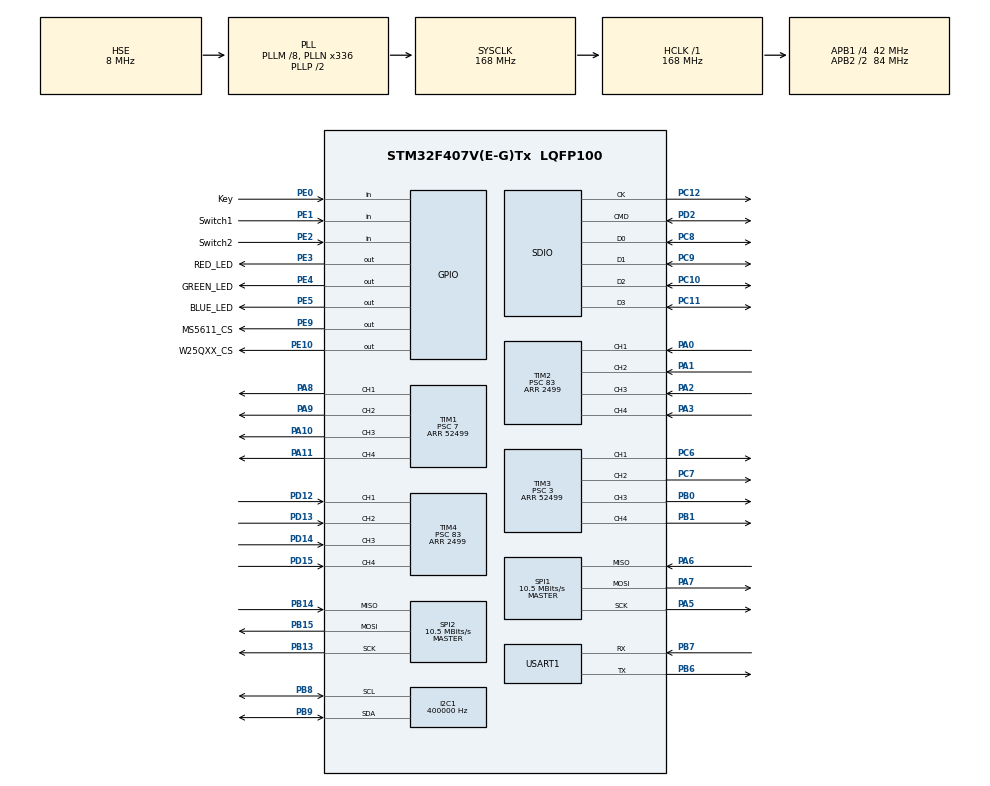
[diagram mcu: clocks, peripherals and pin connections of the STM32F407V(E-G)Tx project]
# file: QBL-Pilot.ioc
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Dma.Request0=SDIO_RX
Dma.Request1=SDIO_TX
Dma.SDIO_RX.0.Channel=DMA_CHANNEL_4
Dma.SDIO_RX.0.Direction=DMA_PERIPH_TO_MEMORY
Dma.SDIO_RX.0.FIFOMode=DMA_FIFOMODE_ENABLE
Dma.SDIO_RX.0.FIFOThreshold=DMA_FIFO_THRESHOLD_FULL
Dma.SDIO_RX.0.Instance=DMA2_Stream3
Dma.SDIO_RX.0.MemBurst=DMA_MBURST_INC4
Dma.SDIO_RX.0.MemDataAlignment=DMA_MDATAALIGN_WORD
Dma.SDIO_RX.0.MemInc=DMA_MINC_ENABLE
Dma.SDIO_RX.0.Mode=DMA_PFCTRL
Dma.SDIO_RX.0.PeriphBurst=DMA_PBURST_INC4
Dma.SDIO_RX.0.PeriphDataAlignment=DMA_PDATAALIGN_WORD
Dma.SDIO_RX.0.PeriphInc=DMA_PINC_DISABLE
Dma.SDIO_RX.0.Priority=DMA_PRIORITY_VERY_HIGH
Dma.SDIO_TX.1.Channel=DMA_CHANNEL_4
Dma.SDIO_TX.1.Direction=DMA_MEMORY_TO_PERIPH
Dma.SDIO_TX.1.FIFOMode=DMA_FIFOMODE_ENABLE
Dma.SDIO_TX.1.FIFOThreshold=DMA_FIFO_THRESHOLD_FULL
Dma.SDIO_TX.1.Instance=DMA2_Stream6
Dma.SDIO_TX.1.MemBurst=DMA_MBURST_INC4
Dma.SDIO_TX.1.MemDataAlignment=DMA_MDATAALIGN_WORD
Dma.SDIO_TX.1.MemInc=DMA_MINC_ENABLE
Dma.SDIO_TX.1.Mode=DMA_PFCTRL
Dma.SDIO_TX.1.PeriphBurst=DMA_PBURST_INC4
Dma.SDIO_TX.1.PeriphDataAlignment=DMA_PDATAALIGN_WORD
Dma.SDIO_TX.1.PeriphInc=DMA_PINC_DISABLE
Dma.SDIO_TX.1.Priority=DMA_PRIORITY_VERY_HIGH
I2C1.ClockSpeed=400000
I2C1.I2C_Mode=I2C_Fast
Mcu.Family=STM32F4
Mcu.Name=STM32F407V(E-G)Tx
Mcu.Package=LQFP100
NVIC.DMA2_Stream3_IRQn=true\:2\:0\:true
NVIC.DMA2_Stream6_IRQn=true\:2\:0\:true
NVIC.PriorityGroup=NVIC_PRIORITYGROUP_4
NVIC.TIM2_IRQn=true\:1\:0\:true
NVIC.TIM4_IRQn=true\:1\:0\:true
NVIC.TIM6_DAC_IRQn=true\:0\:0\:true
PA0-WKUP.Signal=S_TIM2_CH1_ETR
PA1.Signal=S_TIM2_CH2
PA10.Signal=S_TIM1_CH3
PA11.Signal=S_TIM1_CH4
PA13.Mode=Serial-Wire
PA13.Signal=SYS_JTMS-SWDIO
PA14.Mode=Serial-Wire
PA14.Signal=SYS_JTCK-SWCLK
PA2.Signal=S_TIM2_CH3
PA3.Signal=S_TIM2_CH4
PA5.Mode=Full_Duplex_Master
PA5.Signal=SPI1_SCK
PA6.Mode=Full_Duplex_Master
PA6.Signal=SPI1_MISO
PA7.Mode=Full_Duplex_Master
PA7.Signal=SPI1_MOSI
PA8.Signal=S_TIM1_CH1
PA9.Signal=S_TIM1_CH2
PB0.Signal=S_TIM3_CH3
PB1.Signal=S_TIM3_CH4
PB13.Mode=Full_Duplex_Master
PB13.Signal=SPI2_SCK
PB14.Mode=Full_Duplex_Master
PB14.Signal=SPI2_MISO
PB15.Mode=Full_Duplex_Master
PB15.Signal=SPI2_MOSI
PB6.Mode=Asynchronous
PB6.Signal=USART1_TX
PB7.Mode=Asynchronous
PB7.Signal=USART1_RX
PB8.Mode=I2C
PB8.Signal=I2C1_SCL
PB9.Mode=I2C
PB9.Signal=I2C1_SDA
PC10.Mode=SD_4_bits_Wide_bus
PC10.Signal=SDIO_D2
PC11.Mode=SD_4_bits_Wide_bus
PC11.Signal=SDIO_D3
PC12.Mode=SD_4_bits_Wide_bus
PC12.Signal=SDIO_CK
PC6.Signal=S_TIM3_CH1
PC7.Signal=S_TIM3_CH2
PC8.Mode=SD_4_bits_Wide_bus
PC8.Signal=SDIO_D0
PC9.Mode=SD_4_bits_Wide_bus
PC9.Signal=SDIO_D1
PD12.Signal=S_TIM4_CH1
PD13.Signal=S_TIM4_CH2
PD14.Signal=S_TIM4_CH3
PD15.Signal=S_TIM4_CH4
PD2.Mode=SD_4_bits_Wide_bus
PD2.Signal=SDIO_CMD
PE0.GPIO_Label=Key
PE0.Signal=GPIO_Input
PE1.GPIO_Label=Switch1
PE1.Signal=GPIO_Input
PE10.GPIO_Label=W25QXX_CS
PE10.GPIO_Speed=GPIO_SPEED_HIGH
PE10.Signal=GPIO_Output
PE2.GPIO_Label=Switch2
PE2.Signal=GPIO_Input
PE3.GPIO_Label=RED_LED
PE3.Signal=GPIO_Output
PE4.GPIO_Label=GREEN_LED
PE4.GPIO_Speed=GPIO_SPEED_HIGH
PE4.Signal=GPIO_Output
PE5.GPIO_Label=BLUE_LED
PE5.GPIO_Speed=GPIO_SPEED_HIGH
PE5.Signal=GPIO_Output
PE9.GPIO_Label=MS5611_CS
PE9.GPIO_Speed=GPIO_SPEED_HIGH
PE9.Signal=GPIO_Output
PH0-OSC_IN.Mode=HSE-External-Oscillator
PH0-OSC_IN.Signal=RCC_OSC_IN
PH1-OSC_OUT.Mode=HSE-External-Oscillator
PH1-OSC_OUT.Signal=RCC_OSC_OUT
ProjectManager.TargetToolchain=MDK-ARM V5
RCC.48MHZClocksFreq_Value=48000000
RCC.AHBFreq_Value=168000000
RCC.APB1CLKDivider=RCC_HCLK_DIV4
RCC.APB1Freq_Value=42000000
RCC.APB1TimFreq_Value=84000000
RCC.APB2CLKDivider=RCC_HCLK_DIV2
RCC.APB2Freq_Value=84000000
RCC.APB2TimFreq_Value=168000000
RCC.CortexFreq_Value=168000000
RCC.HCLKFreq_Value=168000000
RCC.HSE_VALUE=8000000
RCC.HSI_VALUE=16000000
RCC.LSE_VALUE=32768
RCC.PLLM=8
RCC.PLLN=336
RCC.PLLQ=7
RCC.PLLSourceVirtual=RCC_PLLSOURCE_HSE
RCC.SYSCLKFreq_VALUE=168000000
RCC.SYSCLKSource=RCC_SYSCLKSOURCE_PLLCLK
RCC.VCOOutputFreq_Value=336000000
SDIO.BusWide=SDIO_BUS_WIDE_1B
SDIO.WideMode=SDIO_BUS_WIDE_4B
SH.S_TIM1_CH1.0=TIM1_CH1,PWM Generation1 CH1
SH.S_TIM1_CH2.0=TIM1_CH2,PWM Generation2 CH2
SH.S_TIM1_CH3.0=TIM1_CH3,PWM Generation3 CH3
SH.S_TIM1_CH4.0=TIM1_CH4,PWM Generation4 CH4
SH.S_TIM2_CH1_ETR.0=TIM2_CH1,Input_Capture1_from_TI1
SH.S_TIM2_CH2.0=TIM2_CH2,Input_Capture2_from_TI2
SH.S_TIM2_CH3.0=TIM2_CH3,Input_Capture3_from_TI3
SH.S_TIM2_CH4.0=TIM2_CH4,Input_Capture4_from_TI4
SH.S_TIM3_CH1.0=TIM3_CH1,PWM Generation1 CH1
SH.S_TIM3_CH2.0=TIM3_CH2,PWM Generation2 CH2
SH.S_TIM3_CH3.0=TIM3_CH3,PWM Generation3 CH3
SH.S_TIM3_CH4.0=TIM3_CH4,PWM Generation4 CH4
SH.S_TIM4_CH1.0=TIM4_CH1,Input_Capture1_from_TI1
SH.S_TIM4_CH2.0=TIM4_CH2,Input_Capture2_from_TI2
SH.S_TIM4_CH3.0=TIM4_CH3,Input_Capture3_from_TI3
SH.S_TIM4_CH4.0=TIM4_CH4,Input_Capture4_from_TI4
SPI1.BaudRatePrescaler=SPI_BAUDRATEPRESCALER_8
SPI1.CalculateBaudRate=10.5 MBits/s
SPI1.Mode=SPI_MODE_MASTER
SPI2.BaudRatePrescaler=SPI_BAUDRATEPRESCALER_4
SPI2.CalculateBaudRate=10.5 MBits/s
SPI2.Mode=SPI_MODE_MASTER
TIM1.Channel-PWM\ Generation2\ CH2=TIM_CHANNEL_2
TIM1.Channel-PWM\ Generation3\ CH3=TIM_CHANNEL_3
TIM1.Channel-PWM\ Generation4\ CH4=TIM_CHANNEL_4
TIM1.Period=52499
TIM1.Prescaler=7
TIM1.Pulse-PWM\ Generation1\ CH1=20999
TIM1.Pulse-PWM\ Generation2\ CH2=20999
TIM1.Pulse-PWM\ Generation3\ CH3=20999
TIM1.Pulse-PWM\ Generation4\ CH4=20999
TIM2.Channel-Input_Capture2_from_TI2=TIM_CHANNEL_2
TIM2.Channel-Input_Capture3_from_TI3=TIM_CHANNEL_3
TIM2.Channel-Input_Capture4_from_TI4=TIM_CHANNEL_4
TIM2.Period=2499
TIM2.Prescaler=83
TIM3.Channel-PWM\ Generation2\ CH2=TIM_CHANNEL_2
TIM3.Channel-PWM\ Generation3\ CH3=TIM_CHANNEL_3
TIM3.Channel-PWM\ Generation4\ CH4=TIM_CHANNEL_4
TIM3.Period=52499
TIM3.Prescaler=3
TIM3.Pulse-PWM\ Generation1\ CH1=20999
TIM3.Pulse-PWM\ Generation2\ CH2=20999
TIM3.Pulse-PWM\ Generation3\ CH3=20999
TIM3.Pulse-PWM\ Generation4\ CH4=20999
TIM4.Channel-Input_Capture2_from_TI2=TIM_CHANNEL_2
TIM4.Channel-Input_Capture3_from_TI3=TIM_CHANNEL_3
TIM4.Channel-Input_Capture4_from_TI4=TIM_CHANNEL_4
TIM4.Period=2499
TIM4.Prescaler=83
TIM6.Period=65535
TIM6.Prescaler=20
TIM6.TIM_MasterOutputTrigger=TIM_TRGO_UPDATE
VP_FATFS_VS_SDIO.Mode=SDIO
VP_TIM6_VS_ClockSourceINT.Mode=Enable_Timer
board=QBL-Pilot

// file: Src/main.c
/**
  ******************************************************************************
  * File Name          : main.c
  * Description        : Main program body
  ******************************************************************************
  *
  * COPYRIGHT(c) 2016 STMicroelectronics
  *
  * Redistribution and use in source and binary forms, with or without modification,
  * are permitted provided that the following conditions are met:
  *   1. Redistributions of source code must retain the above copyright notice,
  *      this list of conditions and the following disclaimer.
  *   2. Redistributions in binary form must reproduce the above copyright notice,
  *      this list of conditions and the following disclaimer in the documentation
  *      and/or other materials provided with the distribution.
  *   3. Neither the name of STMicroelectronics nor the names of its contributors
  *      may be used to endorse or promote products derived from this software
  *      without specific prior written permission.
  *
  * THIS SOFTWARE IS PROVIDED BY THE COPYRIGHT HOLDERS AND CONTRIBUTORS "AS IS"
  * AND ANY EXPRESS OR IMPLIED WARRANTIES, INCLUDING, BUT NOT LIMITED TO, THE
  * IMPLIED WARRANTIES OF MERCHANTABILITY AND FITNESS FOR A PARTICULAR PURPOSE ARE
  * DISCLAIMED. IN NO EVENT SHALL THE COPYRIGHT HOLDER OR CONTRIBUTORS BE LIABLE
  * FOR ANY DIRECT, INDIRECT, INCIDENTAL, SPECIAL, EXEMPLARY, OR CONSEQUENTIAL
  * DAMAGES (INCLUDING, BUT NOT LIMITED TO, PROCUREMENT OF SUBSTITUTE GOODS OR
  * SERVICES; LOSS OF USE, DATA, OR PROFITS; OR BUSINESS INTERRUPTION) HOWEVER
  * CAUSED AND ON ANY THEORY OF LIABILITY, WHETHER IN CONTRACT, STRICT LIABILITY,
  * OR TORT (INCLUDING NEGLIGENCE OR OTHERWISE) ARISING IN ANY WAY OUT OF THE USE
  * OF THIS SOFTWARE, EVEN IF ADVISED OF THE POSSIBILITY OF SUCH DAMAGE.
  *
  ******************************************************************************
  */
#include "stm32f4xx_hal.h"
#include "dma.h"
#include "fatfs.h"
#include "i2c.h"
#include "sdio.h"
#include "spi.h"
#include "tim.h"
#include "usart.h"
#include "gpio.h"

/* USER CODE BEGIN Includes */
#include <stdio.h>
#include <math.h>
#include <stdlib.h>
#include "Utils.h"
#include "DataRecorder.h"
#include "mavlink.h"
#include "MPU6050.h"
#include "LED.h"
/* USER CODE END Includes */

/* USER CODE BEGIN PV */
/* Private variables ---------------------------------------------------------*/

/* USER CODE END PV */

void SystemClock_Config(void);

/* USER CODE BEGIN PFP */
/* Private function prototypes -----------------------------------------------*/

/* USER CODE END PFP */

/* USER CODE BEGIN 0 */

#if __GNUC__

#else

int fputc(int ch, FILE* f)
{
    uint8_t tmp[1];
    tmp[0] = ch;
    HAL_UART_Transmit(&huart1, tmp, 1, 1);
    return ch;
}

#endif

/* USER CODE END 0 */

int main(void)
{

    /* MCU Configuration----------------------------------------------------------*/

    /* Reset of all peripherals, Initializes the Flash interface and the Systick. */
    HAL_Init();

    /* Configure the system clock */
    SystemClock_Config();

    /* Initialize all configured peripherals */
    MX_GPIO_Init();
    MX_DMA_Init();
    MX_I2C1_Init();
    MX_SDIO_SD_Init();
    MX_SPI1_Init();
    MX_SPI2_Init();
    MX_TIM1_Init();
    MX_TIM2_Init();
    MX_TIM3_Init();
    MX_TIM4_Init();
    MX_TIM6_Init();
    MX_USART1_UART_Init();
    MX_FATFS_Init();

    /* USER CODE BEGIN 2 */

    Utils_SystemInit();
    //运行系统自测功能，请连接串口，按照串口输出的提示来进行操作
    //Utils_RunSelfTest();

    /* USER CODE END 2 */
    /* Infinite loop */
    while (1) {

    }
}

/** System Clock Configuration
*/
void SystemClock_Config(void)
{

    RCC_OscInitTypeDef RCC_OscInitStruct;
    RCC_ClkInitTypeDef RCC_ClkInitStruct;

    __PWR_CLK_ENABLE();

    __HAL_PWR_VOLTAGESCALING_CONFIG(PWR_REGULATOR_VOLTAGE_SCALE1);

    RCC_OscInitStruct.OscillatorType = RCC_OSCILLATORTYPE_HSE;
    RCC_OscInitStruct.HSEState = RCC_HSE_ON;
    RCC_OscInitStruct.PLL.PLLState = RCC_PLL_ON;
    RCC_OscInitStruct.PLL.PLLSource = RCC_PLLSOURCE_HSE;
    RCC_OscInitStruct.PLL.PLLM = 8;
    RCC_OscInitStruct.PLL.PLLN = 336;
    RCC_OscInitStruct.PLL.PLLP = RCC_PLLP_DIV2;
    RCC_OscInitStruct.PLL.PLLQ = 7;
    HAL_RCC_OscConfig(&RCC_OscInitStruct);

    RCC_ClkInitStruct.ClockType = RCC_CLOCKTYPE_SYSCLK | RCC_CLOCKTYPE_PCLK1
        | RCC_CLOCKTYPE_PCLK2;
    RCC_ClkInitStruct.SYSCLKSource = RCC_SYSCLKSOURCE_PLLCLK;
    RCC_ClkInitStruct.AHBCLKDivider = RCC_SYSCLK_DIV1;
    RCC_ClkInitStruct.APB1CLKDivider = RCC_HCLK_DIV4;
    RCC_ClkInitStruct.APB2CLKDivider = RCC_HCLK_DIV2;
    HAL_RCC_ClockConfig(&RCC_ClkInitStruct, FLASH_LATENCY_5);

    HAL_SYSTICK_Config(HAL_RCC_GetHCLKFreq() / 1000);

    HAL_SYSTICK_CLKSourceConfig(SYSTICK_CLKSOURCE_HCLK);

    /* SysTick_IRQn interrupt configuration */
    HAL_NVIC_SetPriority(SysTick_IRQn, 0, 0);
}

/************************ (C) COPYRIGHT STMicroelectronics *****END OF FILE****/
